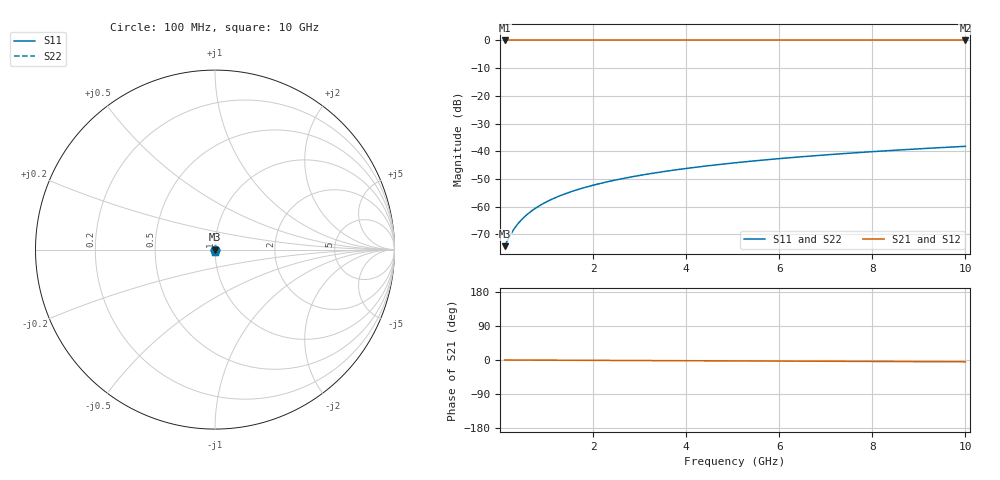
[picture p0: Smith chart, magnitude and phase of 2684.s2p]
# Hz S RI R 50.00
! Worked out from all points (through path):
!   100 points, 100 MHz to 10 GHz, reference 50 ohm
!   highest |S21| = 0.00 dB at 100 MHz (marker M1); lowest = 0.0 dB at 10 GHz (marker M2)
!   lowest |S11| = -74.2 dB at 100 MHz (marker M3), VSWR 1.00, Z = 50 - j0.0122 ohm
!   |S11| at or under -10 dB: start of sweep to end of sweep
!   |S22| runs from -74.2 to -38.2 dB; largest |S21 - S12| = 0
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1e8  0.000152 -0.000122  0.9998 -0.000819  0.9998 -0.000819  0.000152 -0.000122
2e8  0.000152 -0.000243  0.9998 -0.00164  0.9998 -0.00164  0.000152 -0.000243
3e8  0.000152 -0.000365  0.9998 -0.00246  0.9998 -0.00246  0.000152 -0.000365
4e8  0.000151 -0.000487  0.9998 -0.00328  0.9998 -0.00328  0.000151 -0.000487
5e8  0.000151 -0.000609  0.9998 -0.0041  0.9998 -0.0041  0.000151 -0.000609
6e8  0.000149 -0.00073  0.9998 -0.00492  0.9998 -0.00492  0.000149 -0.00073
7e8  0.000148 -0.000852  0.9998 -0.00574  0.9998 -0.00574  0.000148 -0.000852
9e8  0.000145 -0.0011  0.9998 -0.00738  0.9998 -0.00738  0.000145 -0.0011
1e9  0.000143 -0.00122  0.9998 -0.0082  0.9998 -0.0082  0.000143 -0.00122
1.2e9  0.000138 -0.00146  0.9998 -0.00984  0.9998 -0.00984  0.000138 -0.00146
1.5e9  0.00013 -0.00183  0.9998 -0.0123  0.9998 -0.0123  0.00013 -0.00183
1.8e9  0.000119 -0.0022  0.9997 -0.0148  0.9997 -0.0148  0.000119 -0.0022
2.1e9  0.000107 -0.00256  0.9997 -0.0172  0.9997 -0.0172  0.000107 -0.00256
2.5e9  8.74e-05 -0.00305  0.9996 -0.0205  0.9996 -0.0205  8.74e-05 -0.00305
2.9e9  6.47e-05 -0.00355  0.9995 -0.0238  0.9995 -0.0238  6.47e-05 -0.00355
3.4e9  3.17e-05 -0.00416  0.9994 -0.0279  0.9994 -0.0279  3.17e-05 -0.00416
4.2e9  -3.19e-05 -0.00515  0.9992 -0.0345  0.9992 -0.0345  -3.19e-05 -0.00515
5.1e9  -0.000119 -0.00626  0.9989 -0.042  0.9989 -0.042  -0.000119 -0.00626
5.9e9  -0.000211 -0.00725  0.9986 -0.0486  0.9986 -0.0486  -0.000211 -0.00725
6.7e9  -0.000317 -0.00824  0.9982 -0.0553  0.9982 -0.0553  -0.000317 -0.00824
8.4e9  -0.000584 -0.0103  0.9973 -0.0695  0.9973 -0.0695  -0.000584 -0.0103
1e10  -0.000889 -0.0123  0.9963 -0.0829  0.9963 -0.0829  -0.000889 -0.0123
